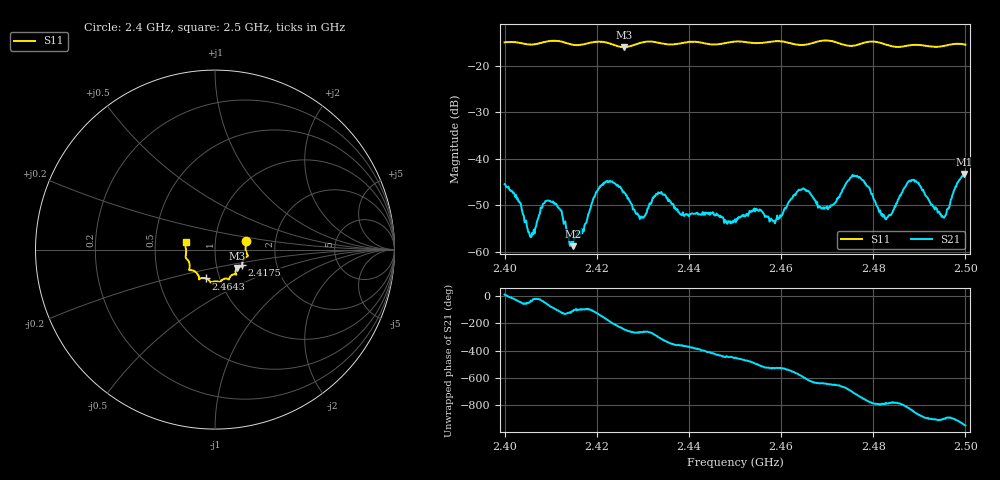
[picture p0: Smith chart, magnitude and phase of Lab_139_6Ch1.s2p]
# Hz S RI R 50
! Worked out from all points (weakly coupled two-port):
!   601 points, 2.4 GHz to 2.5 GHz, reference 50 ohm
!   highest |S21| = -43.22 dB at 2.4997 GHz (marker M1); lowest = -58.8 dB at 2.4148 GHz (marker M2)
!   lowest |S11| = -15.9 dB at 2.4258 GHz (marker M3), VSWR 1.38, Z = 62.3 - j13.2 ohm
!   |S11| at or under -10 dB: start of sweep to end of sweep
!   S12 and S22 are empty: the file has one direction only
!   S11 on the Smith chart (normalised r, x): 2.4 GHz: 1.41, +0.14; 2.4175 GHz: 1.33, -0.23; 2.4643 GHz: 0.86, -0.28; 2.5 GHz: 0.72, +0.06
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2.4e9  0.1732 0.0485  0.00528 0.000979  0 0  0 0
2.405667e9  0.1702 0.00643  0.00119 -0.000792  0 0  0 0
2.4095e9  0.1823 -0.0316  0.00139 -0.00328  0 0  0 0
2.414833e9  0.1607 -0.0535  -0.000411 -0.00108  0 0  0 0
2.416667e9  0.1524 -0.0738  -0.00032 -0.00172  0 0  0 0
2.4175e9  0.1513 -0.0835  -0.000227 -0.002  0 0  0 0
2.4215e9  0.1535 -0.0966  -0.00511 -0.00215  0 0  0 0
2.425833e9  0.1218 -0.103  -0.00203 0.00397  0 0  0 0
2.429833e9  0.1166 -0.1361  -0.000179 0.00233  0 0  0 0
2.433333e9  0.1137 -0.1373  0.00231 0.00372  0 0  0 0
2.4385e9  0.0806 -0.1571  0.00248 -1.23e-05  0 0  0 0
2.45e9  0.0282 -0.1812  -0.00011 -0.00224  0 0  0 0
2.4585e9  -0.0214 -0.1832  -0.00214 -0.000334  0 0  0 0
2.464333e9  -0.0499 -0.1608  -0.00332 0.00325  0 0  0 0
2.466667e9  -0.0763 -0.1586  -9.95e-05 0.00404  0 0  0 0
2.470667e9  -0.0886 -0.1645  0.000898 0.0029  0 0  0 0
2.476e9  -0.1162 -0.1188  0.00654 0.000597  0 0  0 0
2.483333e9  -0.1408 -0.0898  0.000973 -0.00225  0 0  0 0
2.488333e9  -0.1614 -0.0473  -0.00266 -0.00533  0 0  0 0
2.495333e9  -0.1639 0.014  -0.00233 5.87e-05  0 0  0 0
2.499667e9  -0.166 0.0413  -0.00508 0.00468  0 0  0 0
2.5e9  -0.1643 0.0433  -0.00444 0.00512  0 0  0 0
